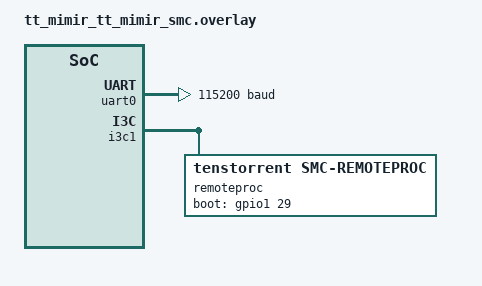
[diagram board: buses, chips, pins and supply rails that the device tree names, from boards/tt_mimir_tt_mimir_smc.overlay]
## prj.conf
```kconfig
CONFIG_TT_SMC_REMOTEPROC=y
CONFIG_LOG=y
CONFIG_OCCP_LOG_LEVEL_DBG=y
CONFIG_TEST=y
CONFIG_ZTEST=y
# VDK simulation does not support programming the PMP with stack protection
CONFIG_TEST_HW_STACK_PROTECTION=n
```

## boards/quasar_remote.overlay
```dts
/*
 * Copyright (c) 2026 Tenstorrent AI ULC
 * SPDX-License-Identifier: Apache-2.0
 */

/* Keraunos remote boots Quasar 0 instead of Mimir 1 */
/ {
	aliases {
		smc-remoteproc = &remoteproc_q0;
	};
};

&remoteproc_m1 {
	status = "disabled";
};

&remoteproc_q0 {
	status = "okay";
};
```

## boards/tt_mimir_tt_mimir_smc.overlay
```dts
#include <freq.h>
#include <zephyr/dt-bindings/gpio/gpio.h>

/ {
	aliases {
		smc-remoteproc = &remoteproc;
	};
};

&uart0 {
	status = "okay";
	current-speed = <115200>;
	/* Set clock frequency so DLAB is programmed to 1 */
	clock-frequency = <2000000>;
};

&i3c1 {
	status = "okay";
	input-clock-frequency = <DT_FREQ_M(150)>;
	i3c-scl-hz = <DT_FREQ_M(12)>; /* 12 MHz I3C SCL frequency */
	i2c-scl-hz = <DT_FREQ_K(300)>; /* 300 kHz I2C SCL frequency */

	remoteproc: remoteproc@88fc1fe8fa15 {
		/* GPIO 61 is boot gpio */
		boot-gpios = <&gpio1 29 GPIO_ACTIVE_HIGH>;
		compatible = "tenstorrent,smc-remoteproc";
		/* No static address, PID of 0x88fc1fe8fa1 */
		reg = <0x0 0x88fc 0x1fe8fa15>;
	};
};
```

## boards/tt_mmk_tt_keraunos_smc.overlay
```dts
/*
 * Copyright (c) 2026 Tenstorrent AI ULC
 * SPDX-License-Identifier: Apache-2.0
 */

#include <freq.h>

/ {
	aliases {
		smc-remoteproc = &remoteproc_m1;
	};
};

&i3c1 {
	i3c-scl-hz = <DT_FREQ_M(12)>;  /* 12 MHz I3C SCL frequency */
};

&remoteproc_m1 {
	status = "okay";
};
```

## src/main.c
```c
/*
 * Copyright (c) 2025 Tenstorrent AI ULC
 *
 * SPDX-License-Identifier: Apache-2.0
 */

#include <stdio.h>

#include <zephyr/drivers/gpio.h>
#include <zephyr/drivers/i3c.h>
#include <zephyr/ztest.h>

#include <zephyr/drivers/misc/tt_smc_remoteproc.h>

#include <soc.h>

#define SMC_SRAM_OCCP_BASE 0xc0066400 /* Start of SMC RAM scratch region */

const struct device *smc_dev = DEVICE_DT_GET(DT_ALIAS(smc_remoteproc));

uint8_t remote_smc_bin[] = {
#include CONFIG_REMOTE_SMC_BINARY_HEADER
};
const unsigned int remote_smc_bin_len = sizeof(remote_smc_bin);

ZTEST(tt_smc_remoteproc, test_boot)
{
	int ret;

	TC_PRINT("Primary BL1 is running!\n");

	zassert_true(device_is_ready(smc_dev), "Remote SMC device not ready");

	ret = tt_smc_remoteproc_load(smc_dev, SMC_SRAM_OCCP_BASE, remote_smc_bin,
				     remote_smc_bin_len);
	zassert_equal(ret, 0, "Failed to load remote SMC image: %d", ret);

	ret = tt_smc_remoteproc_boot(smc_dev, SMC_SRAM_OCCP_BASE);
	zassert_equal(ret, 0, "Failed to boot remote SMC: %d", ret);

	/*
	 * We don't return from the testsuite here. The remote SMC
	 * will also boot a ZTEST, and that test passing is what actually
	 * indicates success.
	 */
	while (1) {
		k_sleep(K_SECONDS(1));
		TC_PRINT("Primary BL1 is alive!\n");
	}
}

ZTEST_SUITE(tt_smc_remoteproc, NULL, NULL, NULL, NULL, NULL);
```
